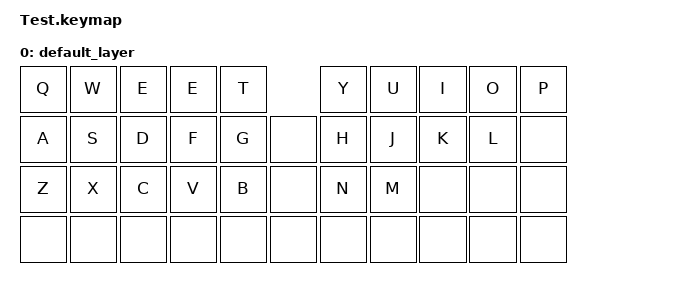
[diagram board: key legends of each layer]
#include <behaviors.dtsi>
#include <dt-bindings/zmk/keys.h>
#include <dt-bindings/zmk/mouse.h>
#include <dt-bindings/zmk/bt.h>
#include <dt-bindings/zmk/outputs.h>

/ {
    keymap {
        compatible = "zmk,keymap";
        default_layer {
            bindings = <
                &kp Q   &kp W   &kp E   &kp E   &kp T               &kp Y   &kp U   &kp I   &kp O   &kp P   
                &kp A   &kp S   &kp D   &kp F   &kp G   &none       &kp H   &kp J   &kp K   &kp L   &none 
                &kp Z   &kp X   &kp C   &kp V   &kp B   &none       &kp N   &kp M   &none   &none   &none
                &none   &none   &none   &none   &none   &none       &none   &none   &none   &none   &none   
            >;
        };
    };

};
